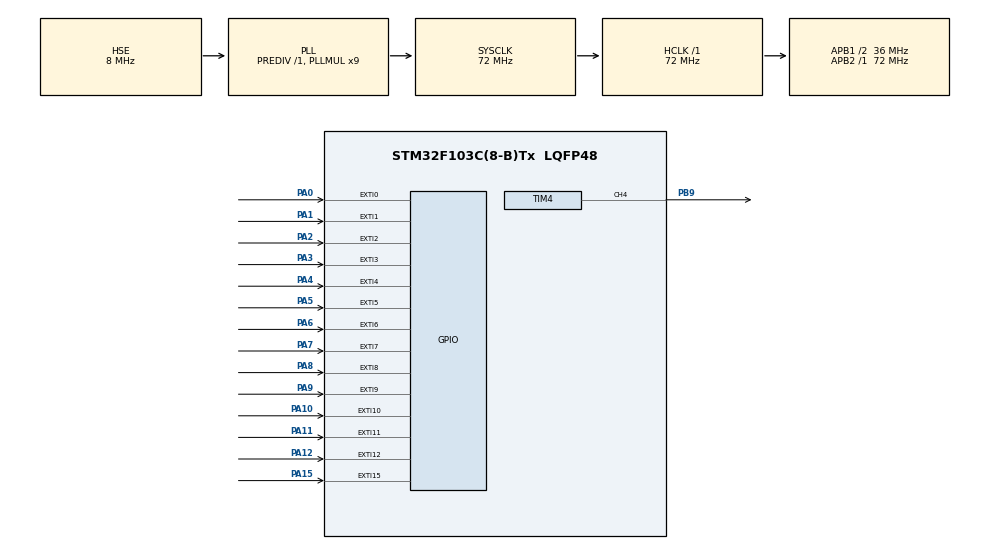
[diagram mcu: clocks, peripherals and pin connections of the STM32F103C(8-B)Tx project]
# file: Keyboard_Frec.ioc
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Mcu.Family=STM32F1
Mcu.Name=STM32F103C(8-B)Tx
Mcu.Package=LQFP48
NVIC.EXTI0_IRQn=true\:0\:0\:false\:false\:true\:true\:true\:true
NVIC.EXTI15_10_IRQn=true\:0\:0\:false\:false\:true\:true\:true\:true
NVIC.EXTI1_IRQn=true\:0\:0\:false\:false\:true\:true\:true\:true
NVIC.EXTI2_IRQn=true\:0\:0\:false\:false\:true\:true\:true\:true
NVIC.EXTI3_IRQn=true\:0\:0\:false\:false\:true\:true\:true\:true
NVIC.EXTI4_IRQn=true\:0\:0\:false\:false\:true\:true\:true\:true
NVIC.EXTI9_5_IRQn=true\:0\:0\:false\:false\:true\:true\:true\:true
NVIC.PriorityGroup=NVIC_PRIORITYGROUP_4
PA0-WKUP.GPIO_ModeDefaultEXTI=GPIO_MODE_IT_RISING_FALLING
PA0-WKUP.GPIO_PuPd=GPIO_PULLUP
PA0-WKUP.Signal=GPXTI0
PA1.GPIO_ModeDefaultEXTI=GPIO_MODE_IT_RISING_FALLING
PA1.GPIO_PuPd=GPIO_PULLUP
PA1.Signal=GPXTI1
PA10.GPIO_ModeDefaultEXTI=GPIO_MODE_IT_RISING_FALLING
PA10.GPIO_PuPd=GPIO_PULLUP
PA10.Signal=GPXTI10
PA11.GPIO_ModeDefaultEXTI=GPIO_MODE_IT_RISING_FALLING
PA11.GPIO_PuPd=GPIO_PULLUP
PA11.Signal=GPXTI11
PA12.Signal=GPXTI12
PA13.Mode=Serial_Wire
PA13.Signal=SYS_JTMS-SWDIO
PA14.Mode=Serial_Wire
PA14.Signal=SYS_JTCK-SWCLK
PA15.Signal=GPXTI15
PA2.GPIO_ModeDefaultEXTI=GPIO_MODE_IT_RISING_FALLING
PA2.GPIO_PuPd=GPIO_PULLUP
PA2.Signal=GPXTI2
PA3.GPIO_ModeDefaultEXTI=GPIO_MODE_IT_RISING_FALLING
PA3.GPIO_PuPd=GPIO_PULLUP
PA3.Signal=GPXTI3
PA4.GPIO_ModeDefaultEXTI=GPIO_MODE_IT_RISING_FALLING
PA4.GPIO_PuPd=GPIO_PULLUP
PA4.Signal=GPXTI4
PA5.GPIO_ModeDefaultEXTI=GPIO_MODE_IT_RISING_FALLING
PA5.GPIO_PuPd=GPIO_PULLUP
PA5.Signal=GPXTI5
PA6.GPIO_ModeDefaultEXTI=GPIO_MODE_IT_RISING_FALLING
PA6.GPIO_PuPd=GPIO_PULLUP
PA6.Signal=GPXTI6
PA7.Signal=GPXTI7
PA8.GPIO_ModeDefaultEXTI=GPIO_MODE_IT_RISING_FALLING
PA8.GPIO_PuPd=GPIO_PULLUP
PA8.Signal=GPXTI8
PA9.GPIO_ModeDefaultEXTI=GPIO_MODE_IT_RISING_FALLING
PA9.GPIO_PuPd=GPIO_PULLUP
PA9.Signal=GPXTI9
PB9.Signal=S_TIM4_CH4
PD0-OSC_IN.Mode=HSE-External-Oscillator
PD0-OSC_IN.Signal=RCC_OSC_IN
PD1-OSC_OUT.Mode=HSE-External-Oscillator
PD1-OSC_OUT.Signal=RCC_OSC_OUT
ProjectManager.HeapSize=0x200
ProjectManager.StackSize=0x800
ProjectManager.TargetToolchain=STM32CubeIDE
RCC.AHBFreq_Value=72000000
RCC.APB1CLKDivider=RCC_HCLK_DIV2
RCC.APB1Freq_Value=36000000
RCC.APB1TimFreq_Value=72000000
RCC.APB2Freq_Value=72000000
RCC.APB2TimFreq_Value=72000000
RCC.HCLKFreq_Value=72000000
RCC.HSICalibrationValue=8
RCC.PLLMUL=RCC_PLL_MUL9
RCC.PLLSourceVirtual=RCC_PLLSOURCE_HSE
RCC.SYSCLKFreq_VALUE=72000000
RCC.SYSCLKSource=RCC_SYSCLKSOURCE_PLLCLK
RCC.USBFreq_Value=72000000
SH.S_TIM4_CH4.0=TIM4_CH4,PWM Generation4 CH4
TIM4.Channel-PWM\ Generation4\ CH4=TIM_CHANNEL_4
TIM4.Period=1000-1
TIM4.Prescaler=72-1
TIM4.Pulse-PWM\ Generation4\ CH4=0
board=custom

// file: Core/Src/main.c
/* USER CODE BEGIN Header */
/**
  ******************************************************************************
  * @file           : main.c
  * @brief          : Main program body
  ******************************************************************************
  * @attention
  *
  * Copyright (c) 2026 STMicroelectronics.
  * All rights reserved.
  *
  * This software is licensed under terms that can be found in the LICENSE file
  * in the root directory of this software component.
  * If no LICENSE file comes with this software, it is provided AS-IS.
  *
  ******************************************************************************
  */
/* USER CODE END Header */
#include "main.h"
#include "tim.h"
#include "gpio.h"

/* USER CODE BEGIN Includes */

#include <stdio.h>
#include "stm32_adafruit_lcd.h"
#include "lcd.h"
#include "ili9488.h"
#include "fonts.h"

#define DEBOUNCE_TIME_MS 50

/* USER CODE END Includes */

/* USER CODE BEGIN PTD */

// Структура для хранения состояния кнопок
typedef struct {
    uint8_t current_state;
    uint8_t previous_state;
    uint32_t last_debounce_time;
    uint8_t stable_state;
} ButtonState;

ButtonState buttons[8]; // Для PA0-PA7
volatile uint8_t exti_triggered = 0;
volatile uint8_t exti_port_value = 0;

//extern LCD_DrawPropTypeDef_MY DrawProp;

/* USER CODE END PTD */

/* USER CODE BEGIN PD */

/*
typedef struct {
    const uint8_t *data;
    uint16_t width;
    uint16_t height;
    uint8_t dataSize;
    } tImage;
typedef struct {
    long int code;
    const tImage *image;
    } tChar;
typedef struct {
    int length;
    const tChar *chars;
    } tFont;
typedef struct  {
  uint32_t TextColor;
  uint32_t BackColor;
  tFont    *pfont;
}FULL_FONT;
*/
extern tFont Font;
extern tImage LOGO;
extern tImage beer_60x100_16;

extern LCD_DrawPropTypeDef DrawProp;

/* USER CODE END PD */

/* USER CODE BEGIN PM */

void ili9488_FillRect(uint16_t Xpos, uint16_t Ypos, uint16_t Xsize, uint16_t Ysize, uint16_t RGBCode);

/* USER CODE END PM */

void SystemClock_Config(void);
/* USER CODE BEGIN PFP */

void BSP_LCD_SetTextColor_MY(uint16_t Color);

void mainApp(void);

/* USER CODE END PFP */

int main(void)
{

  /* MCU Configuration--------------------------------------------------------*/

  /* Reset of all peripherals, Initializes the Flash interface and the Systick. */
  HAL_Init();

  /* Configure the system clock */
  SystemClock_Config();

  /* Initialize all configured peripherals */
  MX_GPIO_Init();
  MX_TIM4_Init();
  /* USER CODE BEGIN 2 */

  HAL_TIM_PWM_Start(&htim4, TIM_CHANNEL_4);

  ili9488_Init();
  ili9488_Init();

  /* USER CODE END 2 */

  /* Infinite loop */
  /* USER CODE BEGIN WHILE */

//	 BSP_LCD_Clear(LCD_COLOR_GREEN);
	 BSP_LCD_SetBackColor(LCD_COLOR_GREEN);
	 ili9488_FillRect(0, 0, 480, 320,LCD_COLOR_GREEN);

 	 BSP_LCD_DrawBitmap(210, 120,&LOGO.data);

	 HAL_Delay(10000);

	 ili9488_FillRect(20, 20, 440, 280, LCD_COLOR_YELLOW);
	//  LCD_IO_WriteCmd8DataFill16(0x2C, LCD_COLOR_YELLOW, 440 * 280);
	 HAL_Delay(500);

//	 BSP_LCD_SetFont(&Font_BIG_MY);
	 BSP_LCD_SetFont_MY(&Font);
	 BSP_LCD_SetTextColor(LCD_COLOR_RED);
	 BSP_LCD_SetBackColor(LCD_COLOR_YELLOW);
//	 BSP_LCD_DisplayStringAt_MY(0, 50, (uint8_t*)"Analog,- Dew!!! 32.568", CENTER_MODE );
	// BSP_LCD_SetTextColor(LCD_COLOR_YELLOW);
	// BSP_LCD_DisplayStringAt_MY(0, 50, (uint8_t*)"Analog,- Dew!!! 32.568", CENTER_MODE );

	 //BSP_LCD_ClearStringLine(LCD_COLOR_YELLOW);

	 BSP_LCD_DsplStr_My(20, 20, (uint8_t*)"ДАBЛЕНИЕ PRESSURE 0.3");
	 BSP_LCD_DsplStr_My(20, 90, (uint8_t*)"ПРОЦЕСС - \"Разгрузка\"" );
	 BSP_LCD_DsplStr_My(20, 150, (uint8_t*)"123,78&  456.78%" );

//	 BSP_LCD_DrawRGB16Image(100, 50, 290, 100, &LOGO);

// LCD_DrawBitmap_WhiteTransparent(190, 50,&LOGO.data, 84, 87);

	// BSP_LCD_DisplayStringAt(20, 20, (uint8_t*)"ДАBЛЕНИЕ PRESSURE 0.3", CENTER_MODE );

 // mainApp();

	while (1) {

  }
  /* USER CODE END 3 */
}

void SystemClock_Config(void)
{
  RCC_OscInitTypeDef RCC_OscInitStruct = {0};
  RCC_ClkInitTypeDef RCC_ClkInitStruct = {0};

  /** Initializes the RCC Oscillators according to the specified parameters
  * in the RCC_OscInitTypeDef structure.
  */
  RCC_OscInitStruct.OscillatorType = RCC_OSCILLATORTYPE_HSE;
  RCC_OscInitStruct.HSEState = RCC_HSE_ON;
  RCC_OscInitStruct.HSEPredivValue = RCC_HSE_PREDIV_DIV1;
  RCC_OscInitStruct.HSIState = RCC_HSI_ON;
  RCC_OscInitStruct.PLL.PLLState = RCC_PLL_ON;
  RCC_OscInitStruct.PLL.PLLSource = RCC_PLLSOURCE_HSE;
  RCC_OscInitStruct.PLL.PLLMUL = RCC_PLL_MUL9;
  if (HAL_RCC_OscConfig(&RCC_OscInitStruct) != HAL_OK)
  {
    Error_Handler();
  }

  /** Initializes the CPU, AHB and APB buses clocks
  */
  RCC_ClkInitStruct.ClockType = RCC_CLOCKTYPE_HCLK|RCC_CLOCKTYPE_SYSCLK
                              |RCC_CLOCKTYPE_PCLK1|RCC_CLOCKTYPE_PCLK2;
  RCC_ClkInitStruct.SYSCLKSource = RCC_SYSCLKSOURCE_PLLCLK;
  RCC_ClkInitStruct.AHBCLKDivider = RCC_SYSCLK_DIV1;
  RCC_ClkInitStruct.APB1CLKDivider = RCC_HCLK_DIV2;
  RCC_ClkInitStruct.APB2CLKDivider = RCC_HCLK_DIV1;

  if (HAL_RCC_ClockConfig(&RCC_ClkInitStruct, FLASH_LATENCY_2) != HAL_OK)
  {
    Error_Handler();
  }
}

/* USER CODE BEGIN 4 */

//----------------------------------------------------------------------------------------------------------------------------------------------------------------------------------

void TIM1_PWM_Init(void) {
    // Включаем тактирование TIM1
    RCC->APB2ENR |= RCC_APB2ENR_TIM1EN;

    // Настройка частоты: 1 кГц при системной частоте 72 МГц
    // Prescaler = 0 (деление на 1)
    TIM1->PSC = 0;

    // ARR определяет период
    // Для 72 МГц и частоты 1 кГц: ARR = 72000 - 1
    TIM1->ARR = 72000 - 1;

    // Начальная скважность 50% (CCR = ARR/2)
    TIM1->CCR2 = 36000;

    // Настройка канала 2
    // OC2M = 110 (PWM mode 1)
    // OC2PE = 1 (preload enable)
    TIM1->CCMR1 &= ~TIM_CCMR1_OC2M;
    TIM1->CCMR1 |= (6 << 12); // PWM mode 1
    TIM1->CCMR1 |= TIM_CCMR1_OC2PE;

    // Включаем выход канала 2 (активный высокий уровень)
    TIM1->CCER |= TIM_CCER_CC2E;
    TIM1->CCER &= ~TIM_CCER_CC2P; // активный высокий уровень

    // Включаем предзагрузку ARR
    TIM1->CR1 |= TIM_CR1_ARPE;

    // Включаем основной выход
    TIM1->BDTR |= TIM_BDTR_MOE;

    // Запускаем таймер
    TIM1->CR1 |= TIM_CR1_CEN;
}

void Set_PWM_DutyCycle(uint16_t duty_percent) {
    // Проверка диапазона
    if (duty_percent > 100) duty_percent = 100;

    // Для TIM4:
    // duty = (ARR * duty_percent) / 100
 //   uint32_t duty_value = (TIM4->ARR * duty_percent) / 100;
  //  TIM4->CCR1 = duty_value;

    // Или для TIM1:
     TIM1->CCR2 = (TIM1->ARR * duty_percent) / 100;
}

void GPIO_Init_PB12(void) {
    // Включаем тактирование порта B
    RCC->APB2ENR |= RCC_APB2ENR_IOPBEN;

    // PB12: альтернативная функция push-pull, максимальная скорость
    GPIOB->CRH &= ~(GPIO_CRH_MODE12 | GPIO_CRH_CNF12);
    GPIOB->CRH |= GPIO_CRH_MODE12_1 | GPIO_CRH_MODE12_0; // 50 MHz
    GPIOB->CRH |= GPIO_CRH_CNF12_1; // Alternate function output push-pull
}

void button_debounced(uint16_t i){
    while( i > 0)
      {i--;}
}

uint8_t read_button_debounced(uint16_t pin) {
    static uint32_t last_time = 0;
    static uint8_t last_state = 1;
    uint8_t current_state;

     current_state = (GPIOA->IDR & pin)? 1 : 0;

 //   current_state = (GPIOA->IDR & GPIO_IDR_IDR0) ? 1 : 0;

    // Если состояние изменилось
    if(current_state != last_state) {
        uint32_t current_time = HAL_GetTick(); // или ваш системный таймер

        // Проверяем, прошло ли достаточно времени
        if((current_time - last_time) > DEBOUNCE_DELAY) {
            last_state = current_state;
            last_time = current_time;
            return current_state;
        }
    }

    return last_state;
}

/* USER CODE END 4 */

void Error_Handler(void)
{
  __disable_irq();
  while (1)
  {
  }
}
